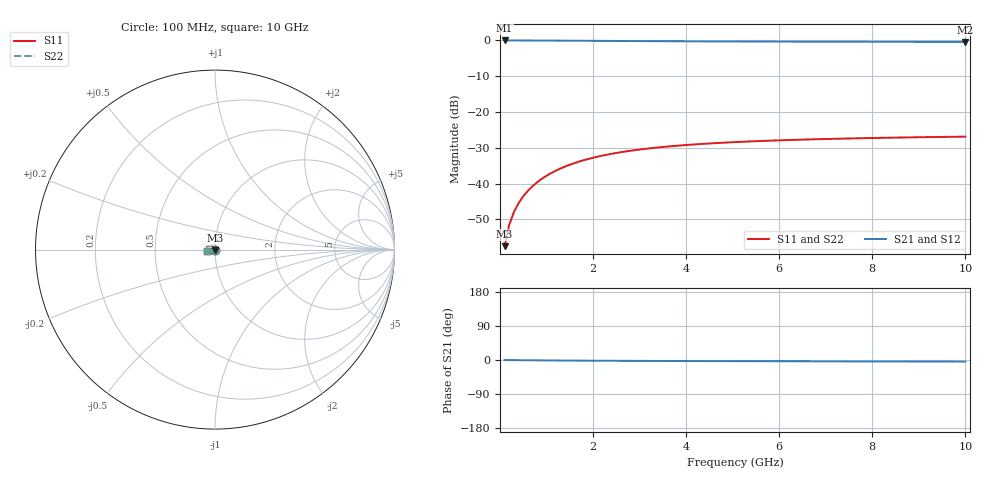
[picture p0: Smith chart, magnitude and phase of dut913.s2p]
! Touchstone file exported from HFSS 2024.1.0
!  File:  C:/UserFiles/LocalFiles/RDL_TSV_Batchsim/temp_TSV1_913_1779945441.aedt
!  Generated:  01:21:59 PM May 28, 2026
!  Design:  TSV1
!  Project:  temp_TSV1_913_1779945441
!  Setup:  Setup1
!  Solution:  Sweep
! Variables:
!  dtsv = 13.7um
!  hbump = 3um
!  htsv = 63.31um
!  lrdl = 252.1521522um
!  p = 40
!  p1 = 52.16um
!  t = 500um
!  trdl = 3um
!  wrdl = 24.89489489um
# GHz S MA R 50.000000
! Terminal data exported
! Port[1] = TSV22_T1
! Port[2] = TSV22_T2
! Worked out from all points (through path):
!   100 points, 100 MHz to 10 GHz, reference 50 ohm
!   highest |S21| = 0.00 dB at 100 MHz (marker M1); lowest = -0.4 dB at 10 GHz (marker M2)
!   lowest |S11| = -57.5 dB at 100 MHz (marker M3), VSWR 1.00, Z = 50 - j0.134 ohm
!   |S11| at or under -10 dB: start of sweep to end of sweep
!   |S22| runs from -57.5 to -26.9 dB; largest |S21 - S12| = 5e-15
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0.1  0.001337 -88.6  0.9999 -0.1  0.9999 -0.1  0.001337 -88.6
! Gamma 0 0 0 0
! Port Impedance 50 0 50 0
0.2  0.002671 -91.8  0.9997 -0.2  0.9997 -0.2  0.002671 -91.8
0.3  0.004004 -94.1  0.9995 -0.3  0.9995 -0.3  0.004004 -94.1
0.4  0.00533 -96.1  0.9992 -0.5  0.9992 -0.5  0.00533 -96.1
0.5  0.006643 -98.0  0.9988 -0.6  0.9988 -0.6  0.006643 -98.0
0.6  0.007938 -99.9  0.9984 -0.7  0.9984 -0.7  0.007938 -99.9
0.7  0.009212 -101.8  0.9979 -0.8  0.9979 -0.8  0.009212 -101.8
0.8  0.01046 -103.5  0.9973 -0.9  0.9973 -0.9  0.01046 -103.5
0.9  0.01168 -105.3  0.9966 -1.0  0.9966 -1.0  0.01168 -105.3
1.1  0.01404 -108.7  0.9952 -1.2  0.9952 -1.2  0.01404 -108.7
1.4  0.01733 -113.5  0.9929 -1.4  0.9929 -1.4  0.01733 -113.5
1.6  0.01935 -116.5  0.9912 -1.6  0.9912 -1.6  0.01935 -116.5
1.8  0.02124 -119.3  0.9894 -1.7  0.9894 -1.7  0.02124 -119.3
2.1  0.02381 -123.3  0.9868 -1.9  0.9868 -1.9  0.02381 -123.3
2.5  0.0268 -128.1  0.9833 -2.2  0.9833 -2.2  0.0268 -128.1
2.9  0.02935 -132.4  0.9801 -2.3  0.9801 -2.3  0.02935 -132.4
3.4  0.03201 -137.1  0.9765 -2.5  0.9765 -2.5  0.03201 -137.1
4.2  0.03535 -143.4  0.9715 -2.8  0.9715 -2.8  0.03535 -143.4
5.1  0.03813 -149.2  0.9671 -3.1  0.9671 -3.1  0.03813 -149.2
6.7  0.0415 -157.2  0.9615 -3.5  0.9615 -3.5  0.0415 -157.2
8.4  0.04382 -163.7  0.9575 -3.9  0.9575 -3.9  0.04382 -163.7
10  0.04532 -168.6  0.9549 -4.3  0.9549 -4.3  0.04532 -168.6
